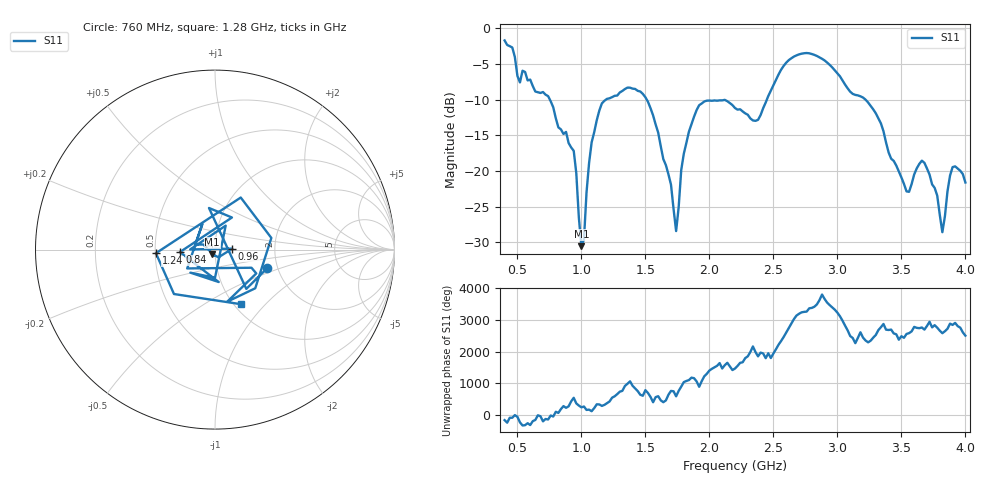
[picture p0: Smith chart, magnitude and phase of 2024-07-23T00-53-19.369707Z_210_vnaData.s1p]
!Created with skrf (http://scikit-rf.org).
# Hz S RI R 50.0
!freq ReS11 ImS11
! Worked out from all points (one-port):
!   181 points, 400 MHz to 4 GHz, reference 50 ohm
!   lowest |S11| = -30.6 dB at 1 GHz (marker M1), VSWR 1.06, Z = 48.4 - j2.46 ohm
!   |S11| at or under -10 dB: 754 MHz to 1.191 GHz (436.9 MHz wide, 44.9 % of centre); 1.511 GHz to 2.448 GHz (937.6 MHz wide, 47.4 % of centre); 3.22 GHz to end of sweep
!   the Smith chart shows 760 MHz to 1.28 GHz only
!   S11 on the Smith chart (normalised r, x): 760 MHz: 1.76, -0.40; 840 MHz: 0.67, -0.02; 960 MHz: 1.21, +0.01; 1.24 GHz: 0.50, -0.02; 1.28 GHz: 1.08, -0.74
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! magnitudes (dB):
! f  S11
! 400 MHz  -1.7
! 520 MHz  -7.6
! 760 MHz  -10.2
! 840 MHz  -14.2
! 860 MHz  -14.8
! 960 MHz  -20.3
! 1 GHz  -30.6
! 1.02 GHz  -29.6
! 1.08 GHz  -16.0
! 1.24 GHz  -9.6
! 1.28 GHz  -9.4
! 1.3 GHz  -9.0
! 1.52 GHz  -10.3
! 1.7 GHz  -21.9
! 1.74 GHz  -28.4
! 1.76 GHz  -25.1
! 1.8 GHz  -17.6
! 1.92 GHz  -10.8
! 2.2 GHz  -11.2
! 2.38 GHz  -12.8
! 2.66 GHz  -3.9
! 3.1 GHz  -8.9
! 3.3 GHz  -11.9
! 3.56 GHz  -22.9
! 3.68 GHz  -18.9
! 3.82 GHz  -28.6
! 3.9 GHz  -19.5
! 4 GHz  -21.6
